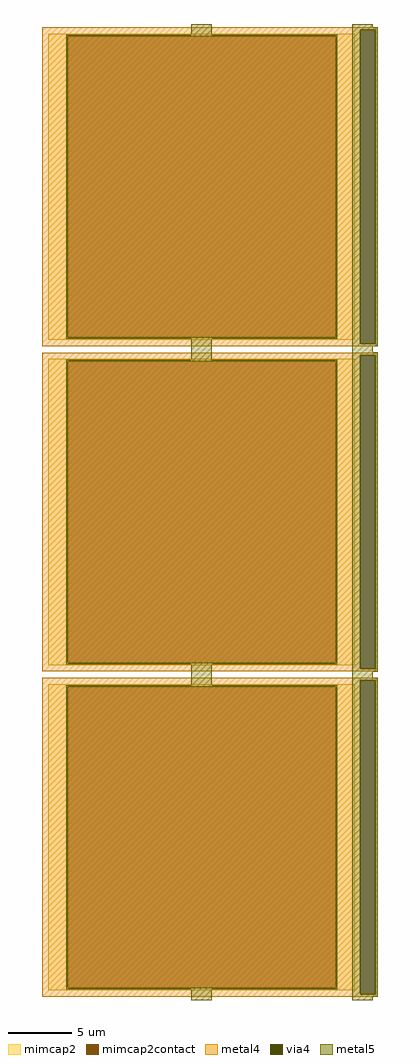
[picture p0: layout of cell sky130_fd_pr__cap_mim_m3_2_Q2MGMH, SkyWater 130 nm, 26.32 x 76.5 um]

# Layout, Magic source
magic
tech sky130A
magscale 1 2
<< metal4 >>
rect -2621 7559 2621 7600
rect -2621 2641 2365 7559
rect 2601 2641 2621 7559
rect -2621 2600 2621 2641
rect -2621 2459 2621 2500
rect -2621 -2459 2365 2459
rect 2601 -2459 2621 2459
rect -2621 -2500 2621 -2459
rect -2621 -2641 2621 -2600
rect -2621 -7559 2365 -2641
rect 2601 -7559 2621 -2641
rect -2621 -7600 2621 -7559
<< via4 >>
rect 2365 2641 2601 7559
rect 2365 -2459 2601 2459
rect 2365 -7559 2601 -2641
<< mimcap2 >>
rect -2521 7460 2279 7500
rect -2521 2740 -2221 7460
rect 1979 2740 2279 7460
rect -2521 2700 2279 2740
rect -2521 2360 2279 2400
rect -2521 -2360 -2221 2360
rect 1979 -2360 2279 2360
rect -2521 -2400 2279 -2360
rect -2521 -2740 2279 -2700
rect -2521 -7460 -2221 -2740
rect 1979 -7460 2279 -2740
rect -2521 -7500 2279 -7460
<< mimcap2contact >>
rect -2221 2740 1979 7460
rect -2221 -2360 1979 2360
rect -2221 -7460 1979 -2740
<< metal5 >>
rect -281 7484 39 7650
rect 2239 7601 2559 7650
rect 2239 7559 2643 7601
rect -2245 7460 2003 7484
rect -2245 2740 -2221 7460
rect 1979 2740 2003 7460
rect -2245 2716 2003 2740
rect -281 2384 39 2716
rect 2239 2641 2365 7559
rect 2601 2641 2643 7559
rect 2239 2599 2643 2641
rect 2239 2501 2559 2599
rect 2239 2459 2643 2501
rect -2245 2360 2003 2384
rect -2245 -2360 -2221 2360
rect 1979 -2360 2003 2360
rect -2245 -2384 2003 -2360
rect -281 -2716 39 -2384
rect 2239 -2459 2365 2459
rect 2601 -2459 2643 2459
rect 2239 -2501 2643 -2459
rect 2239 -2599 2559 -2501
rect 2239 -2641 2643 -2599
rect -2245 -2740 2003 -2716
rect -2245 -7460 -2221 -2740
rect 1979 -7460 2003 -2740
rect -2245 -7484 2003 -7460
rect -281 -7650 39 -7484
rect 2239 -7559 2365 -2641
rect 2601 -7559 2643 -2641
rect 2239 -7601 2643 -7559
rect 2239 -7650 2559 -7601
<< properties >>
string gencell sky130_fd_pr__cap_mim_m3_2
string FIXED_BBOX -2621 2600 2379 7600
string parameters w 24.0 l 24.0 val 1.17k carea 2.00 cperi 0.19 nx 1 ny 3 dummy 0 square 0 lmin 2.00 wmin 2.00 lmax 30.0 wmax 30.0 dc 0 bconnect 1 tconnect 1 ccov 89
string library sky130
<< end >>
